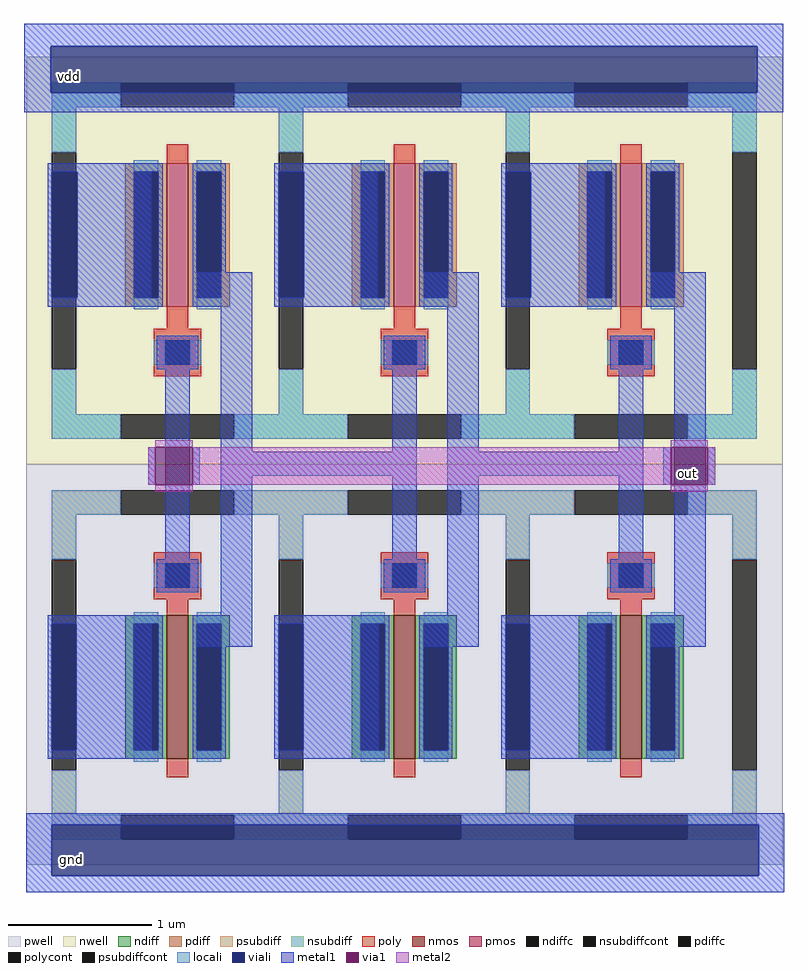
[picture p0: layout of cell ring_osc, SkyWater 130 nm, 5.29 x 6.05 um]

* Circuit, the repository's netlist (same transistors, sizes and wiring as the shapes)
** sch_path: /home/mona121130125/percobaan_layout/ring_osc.sch
.subckt ring_osc vdd out gnd
*.PININFO vdd:B gnd:B out:O
x1 vdd out net1 gnd inverter
x2 vdd net1 net2 gnd inverter
x3 vdd net2 out gnd inverter
.ends

* expanding   symbol:  inverter.sym # of pins=4
** sym_path: /home/mona121130125/percobaan_layout/inverter.sym
** sch_path: /home/mona121130125/percobaan_layout/inverter.sch
.subckt inverter vdd in out gnd
*.PININFO in:I out:O vdd:B gnd:B
XM1 out in vdd vdd sky130_fd_pr__pfet_01v8 L=0.15 W=1 nf=1 m=1
XM2 out in gnd gnd sky130_fd_pr__nfet_01v8 L=0.15 W=1 nf=1 m=1
.ends

.end

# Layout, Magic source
magic
tech sky130A
magscale 1 2
<< viali >>
rect 140 1076 1125 1141
rect 142 -15 1127 56
<< metal1 >>
rect 103 1141 1161 1172
rect 103 1076 140 1141
rect 1125 1076 1161 1141
rect 103 1049 1161 1076
rect 276 530 286 582
rect 338 530 348 582
rect 394 542 636 576
rect 714 542 956 576
rect 994 530 1004 582
rect 1056 530 1066 582
rect 106 56 1162 72
rect 106 -15 142 56
rect 1127 -15 1162 56
rect 106 -38 1162 -15
<< via1 >>
rect 286 530 338 582
rect 1004 530 1056 582
<< metal2 >>
rect 286 582 338 592
rect 1004 582 1056 592
rect 276 530 286 582
rect 338 530 1004 582
rect 1056 530 1066 582
rect 286 520 338 530
rect 1004 520 1056 530
use inverter  x1
transform 1 0 -528 0 1 -64
box 634 64 1056 1190
use inverter  x2
transform 1 0 -212 0 1 -64
box 634 64 1056 1190
use inverter  x3
transform 1 0 104 0 1 -64
box 634 64 1056 1190
<< labels >>
flabel viali 167 1098 167 1098 0 FreeSans 320 0 0 0 vdd
port 0 nsew
flabel viali 167 7 171 8 0 FreeSans 320 0 0 0 gnd
port 1 nsew
flabel via1 1027 546 1027 546 0 FreeSans 320 0 0 0 out
port 2 nsew
<< end >>

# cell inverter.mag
magic
tech sky130A
magscale 1 2
<< viali >>
rect 670 854 705 1030
rect 670 224 704 400
<< metal1 >>
rect 664 1030 808 1042
rect 664 854 670 1030
rect 705 854 808 1030
rect 664 842 808 854
rect 872 846 949 890
rect 896 842 949 846
rect 828 450 862 796
rect 905 412 949 842
rect 664 400 809 412
rect 664 224 670 400
rect 704 224 809 400
rect 866 368 949 412
rect 664 212 809 224
use sky130_fd_pr__pfet_01v8_LGS3BL  XM1
transform 1 0 845 0 1 906
box -211 -284 211 284
use sky130_fd_pr__nfet_01v8_64Z3AY  XM2
transform 1 0 845 0 1 343
box -211 -279 211 279
<< labels >>
flabel metal1 716 970 716 970 0 FreeSans 160 0 0 0 vdd
port 1 nsew
flabel metal1 730 310 730 310 0 FreeSans 160 0 0 0 gnd
port 3 nsew
flabel metal1 844 620 844 620 0 FreeSans 160 0 0 0 in
port 5 nsew
flabel metal1 928 622 928 622 0 FreeSans 160 0 0 0 out
port 7 nsew
<< end >>

# cell sky130_fd_pr__pfet_01v8_LGS3BL: kit device sky130_fd_pr__pfet_01v8, w 1.0 l 0.15 m 1 nf 1 diffcov 100 polycov 100 guard 1 glc 1 grc 1 gtc 1 gbc 1 tbcov 100 rlcov 100 topc 0 botc 1 poverlap 0 doverlap 1 lmin 0.15 wmin 0.42 compatible {sky130_fd_pr__pfet_01v8 sky130_fd_pr__pfet_01v8_lvt sky130_fd_pr__pfet_01v8_hvt sky130_fd_pr__pfet_g5v0d10v5} full_metal 1 viasrc 100 viadrn 100 viagate 100 viagb 0 viagr 0 viagl 0 viagt 0

# cell sky130_fd_pr__nfet_01v8_64Z3AY: kit device sky130_fd_pr__nfet_01v8, w 1.0 l 0.15 m 1 nf 1 diffcov 100 polycov 100 guard 1 glc 1 grc 1 gtc 1 gbc 1 tbcov 100 rlcov 100 topc 1 botc 0 poverlap 0 doverlap 1 lmin 0.15 wmin 0.42 compatible {sky130_fd_pr__nfet_01v8 sky130_fd_pr__nfet_01v8_lvt sky130_fd_bs_flash__special_sonosfet_star sky130_fd_pr__nfet_g5v0d10v5 sky130_fd_pr__nfet_05v0_nvt sky130_fd_pr__nfet_03v3_nvt} full_metal 1 viasrc 100 viadrn 100 viagate 100 viagb 0 viagr 0 viagl 0 viagt 0
